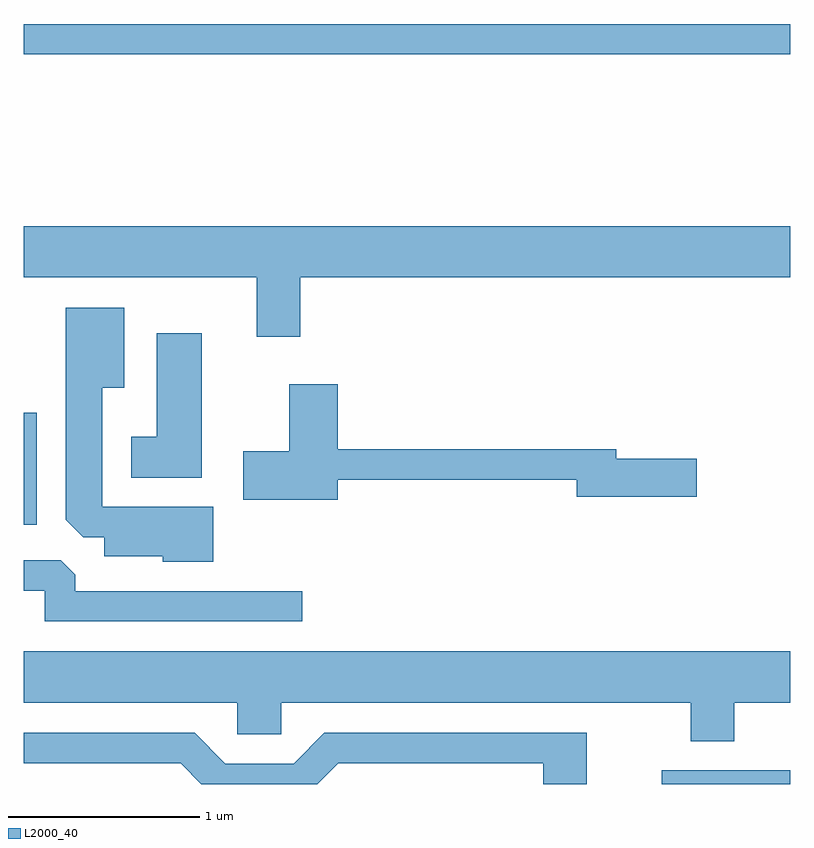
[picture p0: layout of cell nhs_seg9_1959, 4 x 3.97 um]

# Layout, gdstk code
import gdstk
lib = gdstk.Library(unit=1e-6, precision=1e-09)
def R(c, l, rs):  # rectangles x0, y0, x1, y1
    for r in rs: c.add(gdstk.rectangle(r[:2], r[2:], *l))
def P(c, l, *ps):  # polygons
    for p in ps: c.add(gdstk.Polygon(p, *l))
L2000_40 = (2000, 40)

nhs_seg9_1959 = lib.new_cell('nhs_seg9_1959')
R(nhs_seg9_1959, L2000_40, [(244.941,2062.432,245.611,2062.504), (241.611,2063.786,241.679,2064.369), (241.611,2066.241,245.611,2066.399)])
P(nhs_seg9_1959, L2000_40, [(243.054,2065.076),(245.611,2065.076),(245.611,2065.344),(241.611,2065.344),(241.611,2065.076),(242.826,2065.076),(242.826,2064.766),(243.054,2064.766)],
  [(242.599,2063.879),(242.019,2063.879),(242.019,2064.501),(242.134,2064.501),(242.134,2064.919),(241.831,2064.919),(241.831,2063.812),(241.922,2063.721),(242.031,2063.721),(242.031,2063.621),(242.336,2063.621),(242.336,2063.591),(242.599,2063.591)],
  [(242.539,2064.784),(242.306,2064.784),(242.306,2064.244),(242.171,2064.244),(242.171,2064.031),(242.539,2064.031)],
  [(243.249,2064.021),(244.496,2064.021),(244.496,2063.931),(245.124,2063.931),(245.124,2064.129),(244.704,2064.129),(244.704,2064.179),(243.249,2064.179),(243.249,2064.519),(242.996,2064.519),(242.996,2064.169),(242.756,2064.169),(242.756,2063.916),(243.249,2063.916)],
  [(243.063,2063.439),(241.879,2063.439),(241.879,2063.524),(241.804,2063.599),(241.611,2063.599),(241.611,2063.441),(241.721,2063.441),(241.721,2063.281),(243.063,2063.281)],
  [(245.319,2062.856),(245.611,2062.856),(245.611,2063.124),(241.611,2063.124),(241.611,2062.856),(242.726,2062.856),(242.726,2062.691),(242.954,2062.691),(242.954,2062.856),(245.091,2062.856),(245.091,2062.656),(245.319,2062.656)],
  [(243.252,2062.541),(244.321,2062.541),(244.321,2062.432),(244.549,2062.432),(244.549,2062.699),(243.179,2062.699),(243.019,2062.539),(242.662,2062.539),(242.502,2062.699),(241.611,2062.699),(241.611,2062.541),(242.429,2062.541),(242.538,2062.432),(243.143,2062.432)])

lib.write_gds('nhs_seg9_1959.gds')
